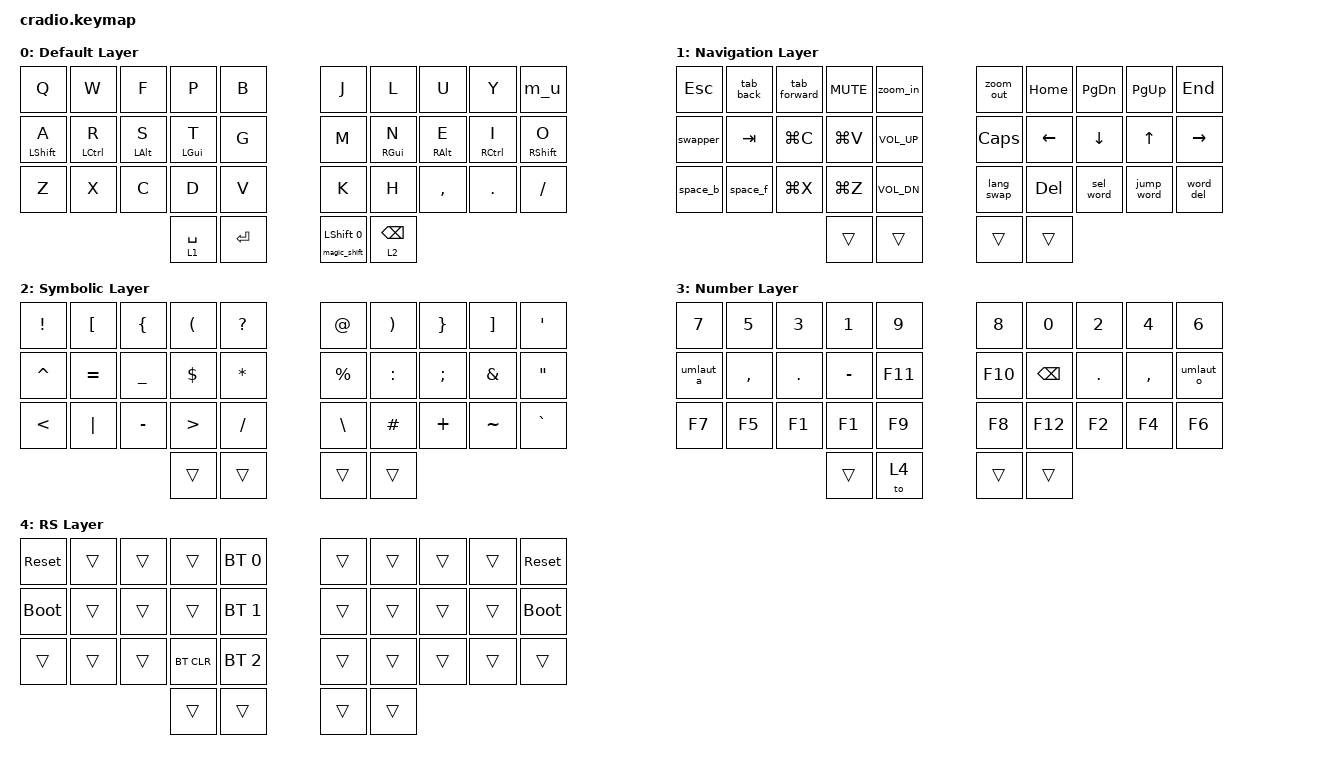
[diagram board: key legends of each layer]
// Copyright (c) 2022 The ZMK Contributors
// SPDX-License-Identifier: MIT

#include <behaviors.dtsi>
#include "zmk-helpers/helper.h"
#include <dt-bindings/zmk/keys.h>
#include <dt-bindings/zmk/bt.h>
#include <dt-bindings/zmk/pointing.h>
#include <behaviors/num_word.dtsi>
#include "34keys.h"
#include "combos.dtsi"

#define KEYS_L   LT0 LT1 LT2 LT3 LT4 LM0 LM1 LM2 LM3 LM4 LB0 LB1 LB2 LB3 LB4 // Left-hand keys.
#define KEYS_R   RT0 RT1 RT2 RT3 RT4 RM0 RM1 RM2 RM3 RM4 RB0 RB1 RB2 RB3 RB4 // Right-hand keys.
#define THUMBS   LH1 LH0 RH0 RH1                                             // Thumbs

#define QUICK_TAP_MS 175

#define MAKE_HRM(NAME, HOLD, TAP, TRIGGER_POS)                                 \
  ZMK_HOLD_TAP(NAME, bindings = <HOLD>, <TAP>; flavor = "balanced";            \
               tapping-term-ms = <280>; quick-tap-ms = <QUICK_TAP_MS>;         \
               require-prior-idle-ms = <150>; hold-trigger-on-release;         \
               hold-trigger-key-positions = <TRIGGER_POS>;)

MAKE_HRM(hml, &kp, &kp, KEYS_R THUMBS) // Left-hand HRMs.
MAKE_HRM(hmr, &kp, &kp, KEYS_L THUMBS) // Right-hand HRMs.

#define MAGIC_SHIFT &magic_shift LSHFT 0

ZMK_HOLD_TAP(magic_shift, bindings = <&kp>, <&magic_shift_tap>;
             flavor = "balanced"; tapping-term-ms = <200>;
             quick-tap-ms = <175>;)

ZMK_MOD_MORPH(magic_shift_tap, bindings = <&shift_repeat>, <&caps_word>;
              mods = <(MOD_LSFT)>;)

ZMK_ADAPTIVE_KEY(
    shift_repeat, bindings = <&sk LSHFT>;
    repeat {
      trigger-keys = <A B C D E F G H I J K L M N O P Q R S T U V W X Y Z>;
      bindings = <&key_repeat>;
      max-prior-idle-ms = <1200>;
      strict-modifiers;
    };)

&caps_word {
  continue-list = <UNDERSCORE MINUS BACKSPACE>;
  /delete-property/ ignore-modifiers;
};

ZMK_TRI_STATE(swapper, bindings = <&kt LGUI>, <&kp TAB>, <&kt LGUI>;
              ignored-key-positions = <LT2 RM1 RM2 RM3 RM4>;)

// language swap in macos
ZMK_TRI_STATE(lang_swap, bindings = <&kt LCTRL>, <&kp SPACE>, <&kt LCTRL>;
              ignored-key-positions = <RB4>;)

/ {
    behaviors {
        m_u: minus_underscore {
            compatible = "zmk,behavior-mod-morph";
            #binding-cells = <0>;
            bindings = <&kp MINUS>, <&kp UNDERSCORE>;
            mods = <(MOD_LSFT|MOD_RSFT)>;
        };

        lt: layer_tap {
            compatible = "zmk,behavior-hold-tap";
            #binding-cells = <2>;
            flavor = "tap-preferred";
            tapping-term-ms = <200>;
            quick-tap-ms = <150>;
            bindings = <&mo>, <&kp>;
            display-name = "Layer-Tap";
        };

        jump_word: jump_word {
            compatible = "zmk,behavior-mod-morph";
            #binding-cells = <0>;
            bindings = <&jump_word_f>, <&jump_word_b>;
            mods = <(MOD_LSFT|MOD_RSFT)>;
        };

        sel_word: sel_word {
            compatible = "zmk,behavior-mod-morph";
            #binding-cells = <0>;
            bindings = <&sel_word_f>, <&sel_word_b>;
            mods = <(MOD_LSFT|MOD_RSFT)>;
        };

    };

    macros {
        tab_forward: tab_forward {
            compatible = "zmk,behavior-macro";
            #binding-cells = <0>;
            bindings
                = <&macro_press &kp LCTRL &kp TAB>
                , <&macro_pause_for_release>
                , <&macro_release &kp LCTRL &kp TAB>
                ;
        };

        tab_back: tab_back {
            compatible = "zmk,behavior-macro";
            #binding-cells = <0>;
            bindings
                = <&macro_press &kp LCTRL &kp LSHFT>
                , <&macro_press &kp TAB>
                , <&macro_pause_for_release>
                , <&macro_release &kp TAB>
                , <&macro_release &kp LCTRL &kp LSHFT>
                ;
        };

        space_b: space_b {
            compatible = "zmk,behavior-macro";
            #binding-cells = <0>;
            bindings
                = <&macro_press &kp LCTRL &kp LEFT>
                , <&macro_pause_for_release>
                , <&macro_release &kp LCTRL &kp LEFT>
                ;
        };

        space_f: space_f {
            compatible = "zmk,behavior-macro";
            #binding-cells = <0>;
            bindings
                = <&macro_press &kp LCTRL &kp RIGHT>
                , <&macro_pause_for_release>
                , <&macro_release &kp LCTRL &kp RIGHT>
                ;
        };

        jump_word_f: jump_word_f {
            compatible = "zmk,behavior-macro";
            #binding-cells = <0>;
            bindings
                = <&macro_press &kp LALT &kp RIGHT>
                , <&macro_pause_for_release>
                , <&macro_release &kp LALT &kp RIGHT>
                ;
        };

        jump_word_b: word_b {
            compatible = "zmk,behavior-macro";
            #binding-cells = <0>;
            bindings
                = <&macro_press &kp LALT &kp LEFT>
                , <&macro_pause_for_release>
                , <&macro_release &kp LALT &kp LEFT>
                ;
        };

        sel_word_f: sel_word_f {
            compatible = "zmk,behavior-macro";
            #binding-cells = <0>;
            bindings
                = <&macro_press &kp LSHFT &kp LALT &kp RIGHT>
                , <&macro_pause_for_release>
                , <&macro_release &kp LSHFT &kp LALT &kp RIGHT>
                ;
        };

        sel_word_b: sel_word_b {
            compatible = "zmk,behavior-macro";
            #binding-cells = <0>;
            bindings
                = <&macro_press &kp LSHFT &kp LALT &kp LEFT>
                , <&macro_wait_time 5>
                , <&macro_pause_for_release>
                , <&macro_release &kp LSHFT &kp LALT &kp LEFT>
                ;
        };

        word_del: word_del {
            compatible = "zmk,behavior-macro";
            #binding-cells = <0>;
            bindings
                = <&macro_press &kp LCTRL>
                , <&macro_tap &kp W>
                , <&macro_release &kp LCTRL>
                ;
        };

        zoom_in: zoom_in {
            compatible = "zmk,behavior-macro";
            #binding-cells = <0>;
            bindings
                = <&macro_press &kp LGUI>
                , <&macro_tap &kp PLUS>
                , <&macro_release &kp LGUI>
                ;
        };

        zoom_out: zoom_out {
            compatible = "zmk,behavior-macro";
            #binding-cells = <0>;
            bindings
                = <&macro_press &kp LGUI>
                , <&macro_tap &kp MINUS>
                , <&macro_release &kp LGUI>
                ;
        };


        // these work only on macOS
        umlaut_a: umlaut_a {
            compatible = "zmk,behavior-macro";
            #binding-cells = <0>;
            bindings
                = <&macro_press &kp LALT>
                , <&macro_tap &kp U>
                , <&macro_release &kp LALT>
                , <&macro_tap &kp A>
                ;
        };

        umlaut_o: umlaut_o {
            compatible = "zmk,behavior-macro";
            #binding-cells = <0>;
            bindings
                = <&macro_press &kp LALT>
                , <&macro_tap &kp U>
                , <&macro_release &kp LALT>
                , <&macro_tap &kp O>
                ;
        };

    };

    conditional_layers {
        compatible = "zmk,conditional-layers";
        tri_layer {
            if-layers = <1 2>;
            then-layer = <3>;
        };
    };

    keymap {
        compatible = "zmk,keymap";
        default_layer {
            display-name = "Default Layer";
            bindings = <
        //╭──────────┬──────────┬──────────┬──────────┬──────────╮   ╭──────────┬──────────┬──────────┬──────────┬──────────╮
        //│  Q       │  W       │  F       │  P       │  B       │   │  J       │  L       │  U       │  Y       │  - MOD _ │
            &kp Q      &kp W      &kp F      &kp P      &kp B          &kp J      &kp L      &kp U      &kp Y      &m_u
        //├──────────┼──────────┼──────────┼──────────┼──────────┤   ├──────────┼──────────┼──────────┼──────────┼──────────┤
        //│  A       │  R       │  S       │  T       │  G       │   │  M       │  N       │  E       │  I       │   O      │
        &hml LSHFT A &hml LCTRL R &hmr LALT S &hml LGUI T  &kp G       &kp M   &hmr RGUI N &hmr RALT E &hmr RCTRL I &hmr RSHFT O
        //├──────────┼──────────┼──────────┼──────────┼──────────┤   ├──────────┼──────────┼──────────┼──────────┼──────────┤
        //│  Z       │  X       │  C       │  D       │  V       │   │  K       │  H       │ , <      │ . >      │ / ?      │
            &kp Z      &kp X      &kp C      &kp D      &kp V          &kp K      &kp H      &kp COMMA  &kp DOT    &kp FSLH
        //╰──────────┴──────────┴──────────┼──────────┼──────────┤   ├──────────┼──────────┼──────────┴──────────┴──────────╯
                                            &lt 1 SPACE &kp ENTER     MAGIC_SHIFT &lt 2 BSPC
        //                                 ╰──────────┴──────────╯   ╰──────────┴──────────╯
            >;
        };

        nav_layer {
            display-name = "Navigation Layer";
            bindings = <
        //╭──────────┬──────────┬──────────┬──────────┬──────────╮   ╭──────────┬──────────┬──────────┬──────────┬──────────╮
        //│  ESC     │ TAB BACK │ TAB FWD  │ MUTE     │ ZOOM OUT │   │  ZOOM IN │  HOME    │ PAGE DN  │ PAGE UP  │ END      │
            &kp ESC   &tab_back  &tab_forward &kp C_MUTE &zoom_in      &zoom_out   &kp HOME   &kp PG_DN  &kp PG_UP &kp END 
        //├──────────┼──────────┼──────────┼──────────┼──────────┤   ├──────────┼──────────┼──────────┼──────────┼──────────┤
        //│ WIN-SWAP │  TAB     | COPY     │ PASTE    | VOL_UP   │   │ CAPSLOCK |  LEFT    │ DOWN     │ UP       │ RIGHT    │
            &swapper   &kp TAB   &kp LG(C) &kp LG(V) &kp C_VOL_UP      &kp CAPS  &kp LEFT   &kp DOWN   &kp UP     &kp RIGHT
        //├──────────┼──────────┼──────────┼──────────┼──────────┤   ├──────────┼──────────┼──────────┼──────────┼──────────┤
        //│ SPACE B  │ SPACE F  │  CUT     │  UNDO    │ VOL_DOWN │   │ lang_swap│  DEL     | SEL WORD | JUMP WORD| WORD DEL |
            &space_b   &space_f   &kp LG(X)  &kp LG(Z) &kp C_VOL_DN   &lang_swap  &kp DEL  &sel_word  &jump_word  &word_del
        //╰──────────┴──────────┴──────────┼──────────┼──────────┤   ├──────────┼──────────┼──────────┴──────────┴──────────╯
        //                                 |          |          |   |          |          |
                                             &trans      &trans         &trans     &trans
        //                                 ╰──────────┴──────────╯   ╰──────────┴──────────╯
            >;
        };

        sym_layer {
            display-name = "Symbolic Layer";
            bindings = <
        //╭──────────┬──────────┬──────────┬──────────┬──────────╮   ╭──────────┬──────────┬──────────┬──────────┬──────────╮
        //│  !       │  [       │  {       │  (       │  ?       │   │  @       │  )       │  }       │  ]       │  '       │
           &kp EXCL &kp LBKT   &kp LBRC   &kp LPAR   &kp QMARK         &kp AT_SIGN  &kp RPAR  &kp RBRC   &kp RBKT    &kp SQT
        //├──────────┼──────────┼──────────┼──────────┼──────────┤   ├──────────┼──────────┼──────────┼──────────┼──────────┤
        //│  ^       │  =       │  _       │  $       │  *       │   │  %       │  :       │  ;       │  &       │  "       │
           &kp CARET  &kp EQUAL  &kp UNDER  &kp DLLR   &kp ASTRK      &kp PRCNT   &kp COLON  &kp SEMI   &kp AMPS   &kp DQT
        //├──────────┼──────────┼──────────┼──────────┼──────────┤   ├──────────┼──────────┼──────────┼──────────┼──────────┤
        //│  <       │  |       │  -       │  >       │  /       │   │  \       │  #       │  +       │  ~       │  `       │
            &kp LT     &kp PIPE   &kp MINUS   &kp GT     &kp SLASH     &kp BSLH  &kp HASH  &kp PLUS   &kp TILDE   &kp GRAVE
        //╰──────────┴──────────┴──────────┼──────────┼──────────┤   ├──────────┼──────────┼──────────┴──────────┴──────────╯
                                             &trans     &trans         &trans     &trans
        //                                 ╰──────────┴──────────╯   ╰──────────┴──────────╯
            >;
        };

        num_layer {
            display-name = "Number Layer";
            bindings = <
        //╭──────────┬──────────┬──────────┬──────────┬──────────╮   ╭──────────┬──────────┬──────────┬──────────┬──────────╮
        //│  7       │  5       │  3       │  1       │  9       │   │  8       │  0       │  2       │  4       │  6       │
            &kp N7    &kp N5     &kp N3     &kp N1      &kp N9         &kp N8     &kp N0     &kp N2     &kp N4     &kp N6
        //├──────────┼──────────┼──────────┼──────────┼──────────┤   ├──────────┼──────────┼──────────┼──────────┼──────────┤
        //│  ä       │  ,       │  .       │  -       │  F11     │   │  F10     │  BSPC    │  .       │  ,       │  ö       │
            &umlaut_a &kp COMMA   &kp DOT  &kp MINUS   &kp F11        &kp F10    &kp BSPC   &kp DOT   &kp COMMA    &umlaut_o 
        //├──────────┼──────────┼──────────┼──────────┼──────────┤   ├──────────┼──────────┼──────────┼──────────┼──────────┤
        //│  F7      │  F5      │  F3      │ F1       │  F9      │   │  F8      │  F12     │  F2      │  F4      │  F6      │
            &kp F7     &kp F5     &kp F1     &kp F1     &kp F9         &kp F8     &kp F12     &kp F2     &kp F4     &kp F6
        //╰──────────┴──────────┴──────────┼──────────┼──────────┤   ├──────────┼──────────┼──────────┴──────────┴──────────╯
                                             &trans     &to 4          &trans     &trans
        //                                 ╰──────────┴──────────╯   ╰──────────┴──────────╯
            >;
        };

        rs_layer {
            display-name = "RS Layer";
            bindings = <
        //╭──────────┬──────────┬──────────┬──────────┬──────────╮   ╭──────────┬──────────┬──────────┬──────────┬──────────╮
        //│ RESET    │          │          │          │PROFILE 0 │   │          │          │          │          │  RESET   │
           &sys_reset  &trans     &trans     &trans    &bt BT_SEL 0    &trans     &trans     &trans     &trans    &sys_reset
        //├──────────┼──────────┼──────────┼──────────┼──────────┤   ├──────────┼──────────┼──────────┼──────────┼──────────┤
        //│BOOTLOADER│          │          │          │PROFILE 1 │   │          │          │          │          │BOOTLOADER│
          &bootloader  &trans     &trans     &trans    &bt BT_SEL 1    &trans     &trans     &trans     &trans    &bootloader
        //├──────────┼──────────┼──────────┼──────────┼──────────┤   ├──────────┼──────────┼──────────┼──────────┼──────────┤
        //│          │          │          │ CLEAR BT │PROFILE 2 │   │          │          │          │          │          │
            &trans     &trans     &trans    &bt BT_CLR &bt BT_SEL 2    &trans     &trans     &trans     &trans     &trans
        //╰──────────┴──────────┴──────────┼──────────┼──────────┤   ├──────────┼──────────┼──────────┴──────────┴──────────╯
                                             &trans     &trans         &trans     &trans
        //                                 ╰──────────┴──────────╯   ╰──────────┴──────────╯
            >;
        };
    };

};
